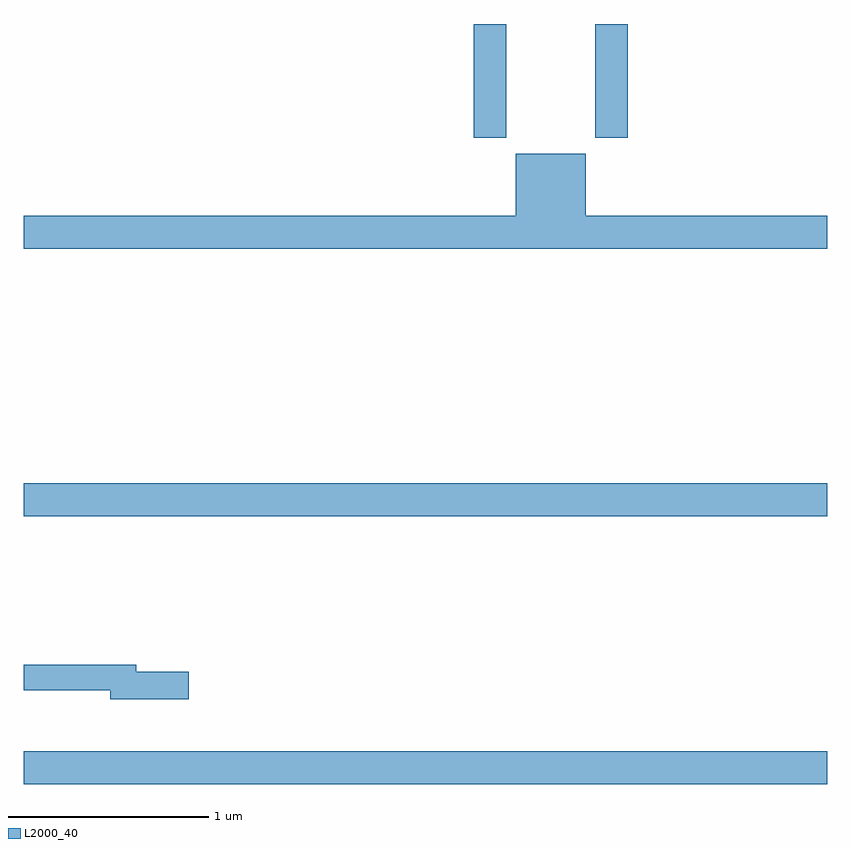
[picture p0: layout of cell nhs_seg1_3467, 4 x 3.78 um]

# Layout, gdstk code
import gdstk
lib = gdstk.Library(unit=1e-6, precision=1e-09)
def R(c, l, rs):  # rectangles x0, y0, x1, y1
    for r in rs: c.add(gdstk.rectangle(r[:2], r[2:], *l))
def P(c, l, *ps):  # polygons
    for p in ps: c.add(gdstk.Polygon(p, *l))
L2000_40 = (2000, 40)

nhs_seg1_3467 = lib.new_cell('nhs_seg1_3467')
R(nhs_seg1_3467, L2000_40, [(299,534.416,303,534.58), (299,535.748,303,535.912), (301.241,537.633,301.401,538.199), (301.846,537.633,302.006,538.199)])
P(nhs_seg1_3467, L2000_40, [(303,537.244),(301.798,537.244),(301.798,537.553),(301.448,537.553),(301.448,537.244),(299,537.244),(299,537.08),(303,537.08)],
  [(299.821,534.974),(299.56,534.974),(299.56,535.01),(299,535.01),(299,534.882),(299.432,534.882),(299.432,534.839),(299.821,534.839)])

lib.write_gds('nhs_seg1_3467.gds')
